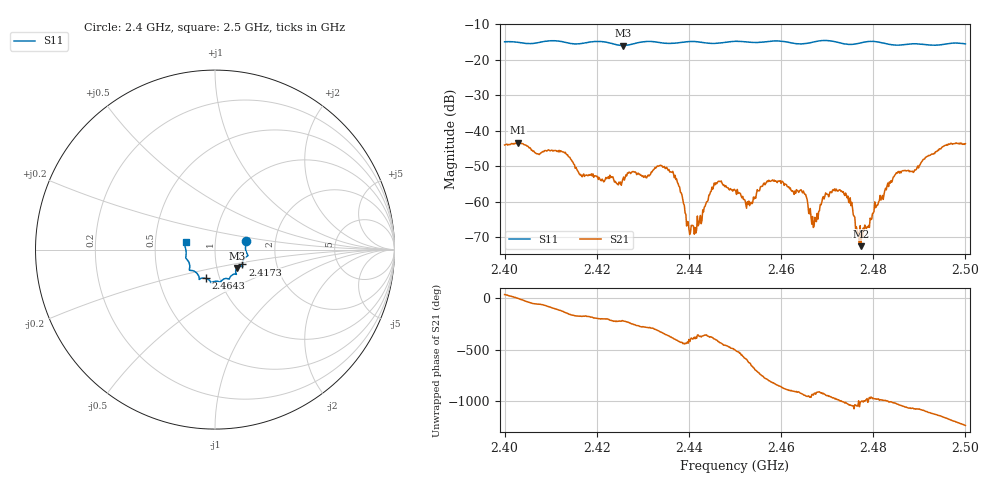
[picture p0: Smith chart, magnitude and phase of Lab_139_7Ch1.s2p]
# Hz S RI R 50
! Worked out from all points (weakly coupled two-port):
!   601 points, 2.4 GHz to 2.5 GHz, reference 50 ohm
!   highest |S21| = -43.36 dB at 2.4028 GHz (marker M1); lowest = -72.6 dB at 2.4773 GHz (marker M2)
!   lowest |S11| = -15.9 dB at 2.4257 GHz (marker M3), VSWR 1.38, Z = 62.4 - j13.1 ohm
!   |S11| at or under -10 dB: start of sweep to end of sweep
!   S12 and S22 are empty: the file has one direction only
!   S11 on the Smith chart (normalised r, x): 2.4 GHz: 1.41, +0.14; 2.4173 GHz: 1.34, -0.23; 2.4643 GHz: 0.86, -0.28; 2.5 GHz: 0.72, +0.06
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2.4e9  0.1734 0.0494  0.00527 0.00346  0 0  0 0
2.402833e9  0.1737 0.0359  0.00678 -0.000368  0 0  0 0
2.412667e9  0.1759 -0.0389  -0.00318 -0.00391  0 0  0 0
2.416667e9  0.1531 -0.075  -0.00232 -7.89e-05  0 0  0 0
2.417333e9  0.1522 -0.0824  -0.00227 -0.00012  0 0  0 0
2.425667e9  0.1225 -0.1025  -0.00159 0.00136  0 0  0 0
2.433333e9  0.1126 -0.1366  0.00229 0.00218  0 0  0 0
2.436833e9  0.0885 -0.1477  0.00173 -0.00131  0 0  0 0
2.440667e9  0.0789 -0.1643  0.000393 -0.000245  0 0  0 0
2.446e9  0.0473 -0.1648  0.00121 -0.00132  0 0  0 0
2.45e9  0.0295 -0.1808  -0.00116 -0.000892  0 0  0 0
2.452833e9  0.0183 -0.1775  -0.000216 0.000897  0 0  0 0
2.4575e9  -0.0163 -0.1823  0.000274 -0.00193  0 0  0 0
2.464333e9  -0.0503 -0.1604  -0.00135 0.000589  0 0  0 0
2.466667e9  -0.0763 -0.1596  -0.000396 0.000275  0 0  0 0
2.4695e9  -0.0877 -0.1665  -0.001 0.000646  0 0  0 0
2.473e9  -0.0908 -0.1465  9.65e-05 0.00139  0 0  0 0
2.475e9  -0.1066 -0.1262  0.000794 0.000811  0 0  0 0
2.477333e9  -0.1298 -0.1163  5.48e-05 0.000229  0 0  0 0
2.483333e9  -0.1406 -0.0895  0.000413 0.00158  0 0  0 0
2.4955e9  -0.166 0.0154  0.0014 -0.00602  0 0  0 0
2.5e9  -0.1631 0.0414  -0.00591 -0.00291  0 0  0 0
